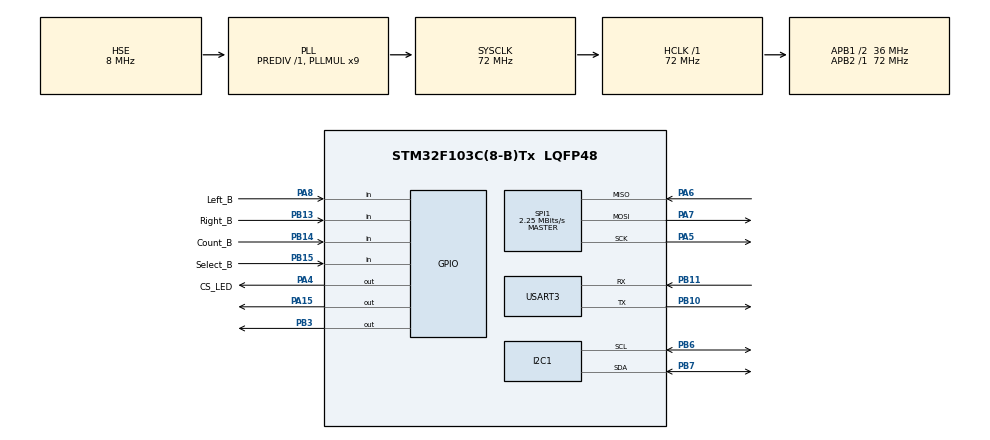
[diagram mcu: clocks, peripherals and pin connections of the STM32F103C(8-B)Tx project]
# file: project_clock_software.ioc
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Mcu.Family=STM32F1
Mcu.Name=STM32F103C(8-B)Tx
Mcu.Package=LQFP48
NVIC.I2C1_ER_IRQn=true\:0\:0\:false\:false\:true\:true
NVIC.I2C1_EV_IRQn=true\:0\:0\:false\:false\:true\:true
NVIC.PriorityGroup=NVIC_PRIORITYGROUP_4
NVIC.SPI1_IRQn=true\:0\:0\:false\:false\:true\:true
NVIC.USART3_IRQn=true\:0\:0\:false\:false\:true\:true
PA13.Mode=Serial_Wire
PA13.Signal=SYS_JTMS-SWDIO
PA14.Mode=Serial_Wire
PA14.Signal=SYS_JTCK-SWCLK
PA15.Signal=GPIO_Output
PA4.GPIO_Label=CS_LED
PA4.Signal=GPIO_Output
PA5.Mode=Full_Duplex_Master
PA5.Signal=SPI1_SCK
PA6.Mode=Full_Duplex_Master
PA6.Signal=SPI1_MISO
PA7.Mode=Full_Duplex_Master
PA7.Signal=SPI1_MOSI
PA8.GPIO_Label=Left_B
PA8.Signal=GPIO_Input
PB10.Mode=Asynchronous
PB10.Signal=USART3_TX
PB11.Mode=Asynchronous
PB11.Signal=USART3_RX
PB13.GPIO_Label=Right_B
PB13.Signal=GPIO_Input
PB14.GPIO_Label=Count_B
PB14.Signal=GPIO_Input
PB15.GPIO_Label=Select_B
PB15.Signal=GPIO_Input
PB3.Signal=GPIO_Output
PB6.Mode=I2C
PB6.Signal=I2C1_SCL
PB7.Mode=I2C
PB7.Signal=I2C1_SDA
PD0-OSC_IN.Mode=HSE-External-Oscillator
PD0-OSC_IN.Signal=RCC_OSC_IN
PD1-OSC_OUT.Mode=HSE-External-Oscillator
PD1-OSC_OUT.Signal=RCC_OSC_OUT
ProjectManager.HeapSize=0x200
ProjectManager.StackSize=0x400
ProjectManager.TargetToolchain=MDK-ARM V5
RCC.AHBFreq_Value=72000000
RCC.APB1CLKDivider=RCC_HCLK_DIV2
RCC.APB1Freq_Value=36000000
RCC.APB1TimFreq_Value=72000000
RCC.APB2Freq_Value=72000000
RCC.APB2TimFreq_Value=72000000
RCC.HCLKFreq_Value=72000000
RCC.PLLMUL=RCC_PLL_MUL9
RCC.PLLSourceVirtual=RCC_PLLSOURCE_HSE
RCC.SYSCLKFreq_VALUE=72000000
RCC.SYSCLKSource=RCC_SYSCLKSOURCE_PLLCLK
RCC.USBFreq_Value=72000000
SPI1.BaudRatePrescaler=SPI_BAUDRATEPRESCALER_32
SPI1.CalculateBaudRate=2.25 MBits/s
SPI1.Direction=SPI_DIRECTION_2LINES
SPI1.Mode=SPI_MODE_MASTER
SPI1.VirtualType=VM_MASTER
USART3.VirtualMode=VM_ASYNC
board=project_clock_software

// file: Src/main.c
/**
  ******************************************************************************
  * @file           : main.c
  * @brief          : Main program body
  ******************************************************************************
  ** This notice applies to any and all portions of this file
  * that are not between comment pairs USER CODE BEGIN and
  * USER CODE END. Other portions of this file, whether
  * inserted by the user or by software development tools
  * are owned by their respective copyright owners.
  *
  * COPYRIGHT(c) 2018 STMicroelectronics
  *
  * Redistribution and use in source and binary forms, with or without modification,
  * are permitted provided that the following conditions are met:
  *   1. Redistributions of source code must retain the above copyright notice,
  *      this list of conditions and the following disclaimer.
  *   2. Redistributions in binary form must reproduce the above copyright notice,
  *      this list of conditions and the following disclaimer in the documentation
  *      and/or other materials provided with the distribution.
  *   3. Neither the name of STMicroelectronics nor the names of its contributors
  *      may be used to endorse or promote products derived from this software
  *      without specific prior written permission.
  *
  * THIS SOFTWARE IS PROVIDED BY THE COPYRIGHT HOLDERS AND CONTRIBUTORS "AS IS"
  * AND ANY EXPRESS OR IMPLIED WARRANTIES, INCLUDING, BUT NOT LIMITED TO, THE
  * IMPLIED WARRANTIES OF MERCHANTABILITY AND FITNESS FOR A PARTICULAR PURPOSE ARE
  * DISCLAIMED. IN NO EVENT SHALL THE COPYRIGHT HOLDER OR CONTRIBUTORS BE LIABLE
  * FOR ANY DIRECT, INDIRECT, INCIDENTAL, SPECIAL, EXEMPLARY, OR CONSEQUENTIAL
  * DAMAGES (INCLUDING, BUT NOT LIMITED TO, PROCUREMENT OF SUBSTITUTE GOODS OR
  * SERVICES; LOSS OF USE, DATA, OR PROFITS; OR BUSINESS INTERRUPTION) HOWEVER
  * CAUSED AND ON ANY THEORY OF LIABILITY, WHETHER IN CONTRACT, STRICT LIABILITY,
  * OR TORT (INCLUDING NEGLIGENCE OR OTHERWISE) ARISING IN ANY WAY OUT OF THE USE
  * OF THIS SOFTWARE, EVEN IF ADVISED OF THE POSSIBILITY OF SUCH DAMAGE.
  *
  ******************************************************************************
  */
#include "main.h"
#include "stm32f1xx_hal.h"

I2C_HandleTypeDef hi2c1;

SPI_HandleTypeDef hspi1;

UART_HandleTypeDef huart3;

/* USER CODE BEGIN PV */
/* Private variables ---------------------------------------------------------*/
uint8_t aTxBuffer[8];
/* USER CODE END PV */

void SystemClock_Config(void);
static void MX_GPIO_Init(void);
static void MX_I2C1_Init(void);
static void MX_SPI1_Init(void);
static void MX_USART3_UART_Init(void);

/* USER CODE BEGIN PFP */
/* Private function prototypes -----------------------------------------------*/

/* USER CODE END PFP */

int main(void)
{
  /* USER CODE BEGIN 1 */
	 uint8_t sec=0,min=0,hour=0;
  /* USER CODE END 1 */

  /* MCU Configuration----------------------------------------------------------*/

  /* Reset of all peripherals, Initializes the Flash interface and the Systick. */
  HAL_Init();

  /* Configure the system clock */
  SystemClock_Config();

  /* Initialize all configured peripherals */
  MX_GPIO_Init();
  MX_I2C1_Init();
  MX_SPI1_Init();
  MX_USART3_UART_Init();
  /* USER CODE BEGIN 2 */
	Init_7219();
	Clear_MAX7219();
  /* USER CODE END 2 */

  /* Infinite loop */
  /* USER CODE BEGIN WHILE */
  while (1)
  {
		 aTxBuffer[0]=0;
                I2C_WriteBuffer((uint16_t)0xD0,1);
                while (HAL_I2C_GetState(&hi2c1) != HAL_I2C_STATE_READY)
                {

                }
								 I2C_ReadBuffer((uint16_t)0xD0,7);
								hour=aTxBuffer[2];
                hour = RTC_ConverFromDec(hour); //Преобразуем в десятичный формат
								min=aTxBuffer[1];
                min = RTC_ConverFromDec(min); //Преобразуем в десятичный формат
								sec=aTxBuffer[0];
                sec = RTC_ConverFromDec(sec); //Преобразуем в десятичный формат
								Print_ValClock(hour,min,sec);
  /* USER CODE END WHILE */

  }

}

void SystemClock_Config(void)
{

  RCC_OscInitTypeDef RCC_OscInitStruct;
  RCC_ClkInitTypeDef RCC_ClkInitStruct;

    /**Initializes the CPU, AHB and APB busses clocks
    */
  RCC_OscInitStruct.OscillatorType = RCC_OSCILLATORTYPE_HSE;
  RCC_OscInitStruct.HSEState = RCC_HSE_ON;
  RCC_OscInitStruct.HSEPredivValue = RCC_HSE_PREDIV_DIV1;
  RCC_OscInitStruct.HSIState = RCC_HSI_ON;
  RCC_OscInitStruct.PLL.PLLState = RCC_PLL_ON;
  RCC_OscInitStruct.PLL.PLLSource = RCC_PLLSOURCE_HSE;
  RCC_OscInitStruct.PLL.PLLMUL = RCC_PLL_MUL9;
  if (HAL_RCC_OscConfig(&RCC_OscInitStruct) != HAL_OK)
  {
    _Error_Handler(__FILE__, __LINE__);
  }

    /**Initializes the CPU, AHB and APB busses clocks
    */
  RCC_ClkInitStruct.ClockType = RCC_CLOCKTYPE_HCLK|RCC_CLOCKTYPE_SYSCLK
                              |RCC_CLOCKTYPE_PCLK1|RCC_CLOCKTYPE_PCLK2;
  RCC_ClkInitStruct.SYSCLKSource = RCC_SYSCLKSOURCE_PLLCLK;
  RCC_ClkInitStruct.AHBCLKDivider = RCC_SYSCLK_DIV1;
  RCC_ClkInitStruct.APB1CLKDivider = RCC_HCLK_DIV2;
  RCC_ClkInitStruct.APB2CLKDivider = RCC_HCLK_DIV1;

  if (HAL_RCC_ClockConfig(&RCC_ClkInitStruct, FLASH_LATENCY_2) != HAL_OK)
  {
    _Error_Handler(__FILE__, __LINE__);
  }

    /**Configure the Systick interrupt time
    */
  HAL_SYSTICK_Config(HAL_RCC_GetHCLKFreq()/1000);

    /**Configure the Systick
    */
  HAL_SYSTICK_CLKSourceConfig(SYSTICK_CLKSOURCE_HCLK);

  /* SysTick_IRQn interrupt configuration */
  HAL_NVIC_SetPriority(SysTick_IRQn, 0, 0);
}

/* I2C1 init function */
static void MX_I2C1_Init(void)
{

  hi2c1.Instance = I2C1;
  hi2c1.Init.ClockSpeed = 100000;
  hi2c1.Init.DutyCycle = I2C_DUTYCYCLE_2;
  hi2c1.Init.OwnAddress1 = 0;
  hi2c1.Init.AddressingMode = I2C_ADDRESSINGMODE_7BIT;
  hi2c1.Init.DualAddressMode = I2C_DUALADDRESS_DISABLE;
  hi2c1.Init.OwnAddress2 = 0;
  hi2c1.Init.GeneralCallMode = I2C_GENERALCALL_DISABLE;
  hi2c1.Init.NoStretchMode = I2C_NOSTRETCH_DISABLE;
  if (HAL_I2C_Init(&hi2c1) != HAL_OK)
  {
    _Error_Handler(__FILE__, __LINE__);
  }

}

/* SPI1 init function */
static void MX_SPI1_Init(void)
{

  /* SPI1 parameter configuration*/
  hspi1.Instance = SPI1;
  hspi1.Init.Mode = SPI_MODE_MASTER;
  hspi1.Init.Direction = SPI_DIRECTION_2LINES;
  hspi1.Init.DataSize = SPI_DATASIZE_8BIT;
  hspi1.Init.CLKPolarity = SPI_POLARITY_LOW;
  hspi1.Init.CLKPhase = SPI_PHASE_1EDGE;
  hspi1.Init.NSS = SPI_NSS_SOFT;
  hspi1.Init.BaudRatePrescaler = SPI_BAUDRATEPRESCALER_32;
  hspi1.Init.FirstBit = SPI_FIRSTBIT_MSB;
  hspi1.Init.TIMode = SPI_TIMODE_DISABLE;
  hspi1.Init.CRCCalculation = SPI_CRCCALCULATION_DISABLE;
  hspi1.Init.CRCPolynomial = 10;
  if (HAL_SPI_Init(&hspi1) != HAL_OK)
  {
    _Error_Handler(__FILE__, __LINE__);
  }

}

/* USART3 init function */
static void MX_USART3_UART_Init(void)
{

  huart3.Instance = USART3;
  huart3.Init.BaudRate = 115200;
  huart3.Init.WordLength = UART_WORDLENGTH_8B;
  huart3.Init.StopBits = UART_STOPBITS_1;
  huart3.Init.Parity = UART_PARITY_NONE;
  huart3.Init.Mode = UART_MODE_TX_RX;
  huart3.Init.HwFlowCtl = UART_HWCONTROL_NONE;
  huart3.Init.OverSampling = UART_OVERSAMPLING_16;
  if (HAL_UART_Init(&huart3) != HAL_OK)
  {
    _Error_Handler(__FILE__, __LINE__);
  }

}

/** Configure pins as
        * Analog
        * Input
        * Output
        * EVENT_OUT
        * EXTI
*/
static void MX_GPIO_Init(void)
{

  GPIO_InitTypeDef GPIO_InitStruct;

  /* GPIO Ports Clock Enable */
  __HAL_RCC_GPIOD_CLK_ENABLE();
  __HAL_RCC_GPIOA_CLK_ENABLE();
  __HAL_RCC_GPIOB_CLK_ENABLE();

  /*Configure GPIO pin Output Level */
  HAL_GPIO_WritePin(GPIOA, CS_LED_Pin|GPIO_PIN_15, GPIO_PIN_RESET);

  /*Configure GPIO pin Output Level */
  HAL_GPIO_WritePin(GPIOB, GPIO_PIN_3, GPIO_PIN_RESET);

  /*Configure GPIO pins : CS_LED_Pin PA15 */
  GPIO_InitStruct.Pin = CS_LED_Pin|GPIO_PIN_15;
  GPIO_InitStruct.Mode = GPIO_MODE_OUTPUT_PP;
  GPIO_InitStruct.Speed = GPIO_SPEED_FREQ_LOW;
  HAL_GPIO_Init(GPIOA, &GPIO_InitStruct);

  /*Configure GPIO pins : Right_B_Pin Count_B_Pin Select_B_Pin */
  GPIO_InitStruct.Pin = Right_B_Pin|Count_B_Pin|Select_B_Pin;
  GPIO_InitStruct.Mode = GPIO_MODE_INPUT;
  GPIO_InitStruct.Pull = GPIO_NOPULL;
  HAL_GPIO_Init(GPIOB, &GPIO_InitStruct);

  /*Configure GPIO pin : Left_B_Pin */
  GPIO_InitStruct.Pin = Left_B_Pin;
  GPIO_InitStruct.Mode = GPIO_MODE_INPUT;
  GPIO_InitStruct.Pull = GPIO_NOPULL;
  HAL_GPIO_Init(Left_B_GPIO_Port, &GPIO_InitStruct);

  /*Configure GPIO pin : PB3 */
  GPIO_InitStruct.Pin = GPIO_PIN_3;
  GPIO_InitStruct.Mode = GPIO_MODE_OUTPUT_PP;
  GPIO_InitStruct.Speed = GPIO_SPEED_FREQ_LOW;
  HAL_GPIO_Init(GPIOB, &GPIO_InitStruct);

}

void _Error_Handler(char *file, int line)
{
  while(1)
  {
  }
}

/************************ (C) COPYRIGHT STMicroelectronics *****END OF FILE****/
